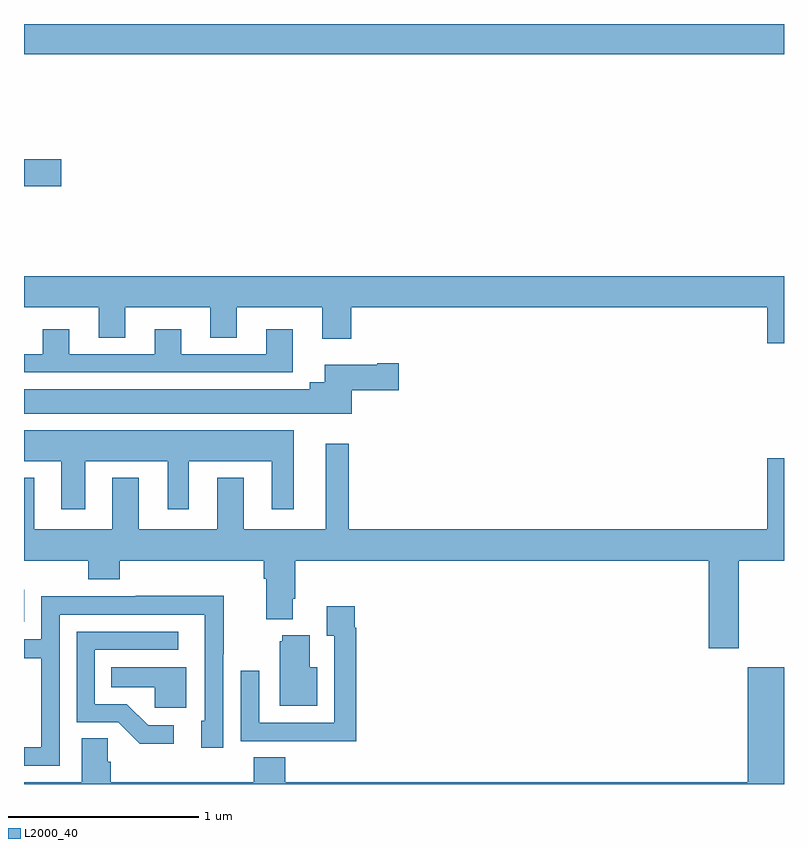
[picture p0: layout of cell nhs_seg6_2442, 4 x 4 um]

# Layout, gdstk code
import gdstk
lib = gdstk.Library(unit=1e-6, precision=1e-09)
def R(c, l, rs):  # rectangles x0, y0, x1, y1
    for r in rs: c.add(gdstk.rectangle(r[:2], r[2:], *l))
def P(c, l, *ps):  # polygons
    for p in ps: c.add(gdstk.Polygon(p, *l))
L2000_40 = (2000, 40)

nhs_seg6_2442 = lib.new_cell('nhs_seg6_2442')
R(nhs_seg6_2442, L2000_40, [(257,940.353,257.001,940.522), (257,942.646,257.197,942.788), (257,943.34,261,943.5)])
P(nhs_seg6_2442, L2000_40, [(261,942.172),(257,942.172),(257,942.008),(257.393,942.008),(257.393,941.848),(257.533,941.848),(257.533,942.008),(257.981,942.008),(257.981,941.848),(258.121,941.848),(258.121,942.008),(258.569,942.008),(258.569,941.844),(258.722,941.844),(258.722,942.008),(260.912,942.008),(260.912,941.82),(261,941.82)],
  [(258.415,941.893),(258.275,941.893),(258.275,941.763),(257.827,941.763),(257.827,941.893),(257.687,941.893),(257.687,941.763),(257.239,941.763),(257.239,941.893),(257.099,941.893),(257.099,941.763),(257,941.763),(257,941.667),(258.415,941.667)],
  [(258.724,941.573),(258.973,941.573),(258.973,941.715),(258.86,941.715),(258.86,941.707),(258.584,941.707),(258.584,941.614),(258.503,941.614),(258.503,941.578),(257,941.578),(257,941.45),(258.724,941.45)],
  [(257.323,941.198),(257.756,941.198),(257.756,940.947),(257.866,940.947),(257.866,941.198),(258.305,941.198),(258.305,940.947),(258.421,940.947),(258.421,941.362),(257,941.362),(257,941.198),(257.195,941.198),(257.195,940.947),(257.323,940.947)],
  [(260.763,940.676),(261,940.676),(261,941.215),(260.912,941.215),(260.912,940.84),(258.709,940.84),(258.709,941.29),(258.587,941.29),(258.587,940.84),(258.157,940.84),(258.157,941.113),(258.017,941.113),(258.017,940.84),(257.605,940.84),(257.605,941.113),(257.465,941.113),(257.465,940.84),(257.053,940.84),(257.053,941.113),(257,941.113),(257,940.676),(257.339,940.676),(257.339,940.577),(257.504,940.577),(257.504,940.676),(258.263,940.676),(258.263,940.58),(258.275,940.58),(258.275,940.367),(258.415,940.367),(258.415,940.474),(258.428,940.474),(258.428,940.676),(260.603,940.676),(260.603,940.215),(260.763,940.215)],
  [(257.187,940.392),(257.951,940.392),(257.951,940.165),(257.952,940.165),(257.952,939.834),(257.933,939.834),(257.933,939.69),(258.048,939.69),(258.048,940.183),(258.051,940.183),(258.051,940.49),(257.587,940.49),(257.587,940.488),(257.091,940.488),(257.091,940.263),(257,940.263),(257,940.162),(257.091,940.162),(257.091,939.693),(257,939.693),(257,939.597),(257.187,939.597)],
  [(258.749,940.322),(258.742,940.322),(258.742,940.435),(258.593,940.435),(258.593,940.279),(258.633,940.279),(258.633,939.822),(258.237,939.822),(258.237,940.096),(258.141,940.096),(258.141,939.726),(258.457,939.726),(258.457,939.725),(258.749,939.725)],
  [(257.788,939.81),(257.653,939.81),(257.542,939.921),(257.373,939.921),(257.373,940.206),(257.812,940.206),(257.812,940.302),(257.277,940.302),(257.277,939.825),(257.496,939.825),(257.609,939.713),(257.788,939.713)],
  [(258.544,940.114),(258.505,940.114),(258.505,940.282),(258.359,940.282),(258.359,940.251),(258.347,940.251),(258.347,939.911),(258.544,939.911)],
  [(257.854,940.114),(257.458,940.114),(257.458,940.01),(257.689,940.01),(257.689,939.902),(257.854,939.902)],
  [(261,940.114),(260.81,940.114),(260.81,939.508),(258.374,939.508),(258.374,939.641),(258.209,939.641),(258.209,939.508),(257.456,939.508),(257.456,939.617),(257.442,939.617),(257.442,939.74),(257.303,939.74),(257.303,939.508),(257,939.508),(257,939.5),(261,939.5)])

lib.write_gds('nhs_seg6_2442.gds')
